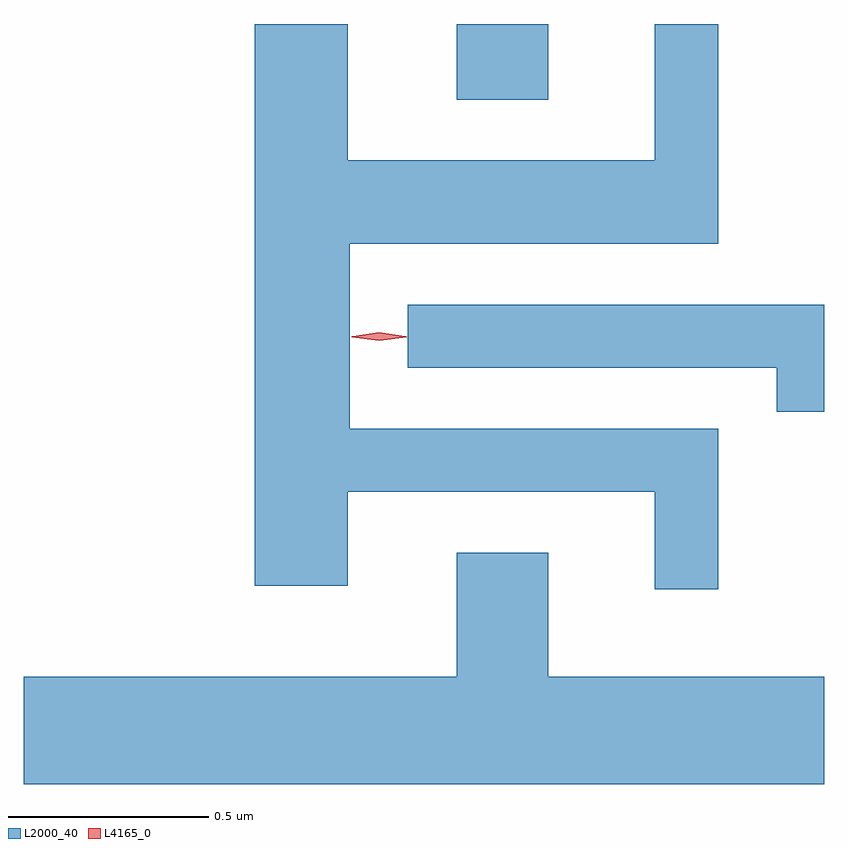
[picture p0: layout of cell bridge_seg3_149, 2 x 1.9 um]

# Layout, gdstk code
import gdstk
lib = gdstk.Library(unit=1e-6, precision=1e-09)
def R(c, l, rs):  # rectangles x0, y0, x1, y1
    for r in rs: c.add(gdstk.rectangle(r[:2], r[2:], *l))
def P(c, l, *ps):  # polygons
    for p in ps: c.add(gdstk.Polygon(p, *l))
L2000_40 = (2000, 40)
L4165_0 = (4165, 0)

bridge_seg3_149 = lib.new_cell('bridge_seg3_149')
R(bridge_seg3_149, L2000_40, [(770.061,1247.606,770.289,1247.795)])
P(bridge_seg3_149, L2000_40, [(770.714,1246.784),(769.794,1246.784),(769.794,1247.246),(770.714,1247.246),(770.714,1247.795),(770.556,1247.795),(770.556,1247.454),(769.789,1247.454),(769.789,1247.795),(769.556,1247.795),(769.556,1246.391),(769.789,1246.391),(769.789,1246.626),(770.556,1246.626),(770.556,1246.383),(770.714,1246.383)],
  [(770.979,1247.094),(769.938,1247.094),(769.938,1246.936),(770.861,1246.936),(770.861,1246.826),(770.979,1246.826)],
  [(770.979,1246.164),(770.289,1246.164),(770.289,1246.474),(770.061,1246.474),(770.061,1246.164),(768.979,1246.164),(768.979,1245.896),(770.979,1245.896)])
P(bridge_seg3_149, L4165_0, [(769.867,1247.003),(769.798,1247.012),(769.797,1247.013),(769.798,1247.013),(769.867,1247.023),(769.936,1247.013),(769.936,1247.013),(769.936,1247.012)],
  [(769.867,1247.005),(769.801,1247.014),(769.8,1247.015),(769.801,1247.015),(769.867,1247.025),(769.932,1247.015),(769.933,1247.015),(769.932,1247.014)])

lib.write_gds('bridge_seg3_149.gds')
